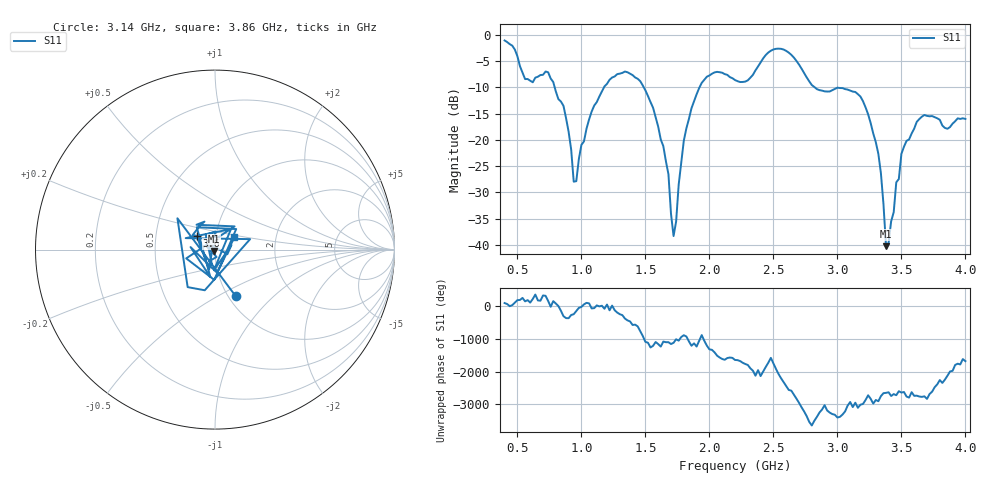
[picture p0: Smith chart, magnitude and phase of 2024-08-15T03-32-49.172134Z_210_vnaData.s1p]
!Created with skrf (http://scikit-rf.org).
# Hz S RI R 50.0
!freq ReS11 ImS11
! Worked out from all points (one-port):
!   181 points, 400 MHz to 4 GHz, reference 50 ohm
!   lowest |S11| = -40.2 dB at 3.38 GHz (marker M1), VSWR 1.02, Z = 49.4 - j0.769 ohm
!   |S11| at or under -10 dB: 791.5 MHz to 1.176 GHz (384.7 MHz wide, 39.1 % of centre); 1.488 GHz to 1.923 GHz (435 MHz wide, 25.5 % of centre); 2.824 GHz to end of sweep
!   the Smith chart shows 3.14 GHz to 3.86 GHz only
!   S11 on the Smith chart (normalised r, x): 3.14 GHz: 1.08, -0.62; 3.6 GHz: 0.81, +0.13; 3.86 GHz: 1.23, +0.17
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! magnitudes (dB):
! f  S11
! 400 MHz  -1.1
! 560 MHz  -8.4
! 740 MHz  -7.1
! 860 MHz  -13.5
! 940 MHz  -28.0
! 960 MHz  -27.9
! 1.08 GHz  -14.6
! 1.3 GHz  -7.4
! 1.56 GHz  -13.9
! 1.68 GHz  -26.5
! 1.72 GHz  -38.3
! 1.76 GHz  -28.5
! 1.82 GHz  -17.8
! 1.94 GHz  -9.1
! 2.2 GHz  -8.6
! 2.5 GHz  -2.8
! 2.66 GHz  -4.3
! 2.84 GHz  -10.3
! 3.1 GHz  -10.6
! 3.14 GHz  -10.9
! 3.32 GHz  -22.7
! 3.38 GHz  -40.2
! 3.5 GHz  -22.7
! 3.56 GHz  -19.9
! 3.6 GHz  -17.9
! 3.68 GHz  -15.3
! 3.86 GHz  -17.9
! 4 GHz  -16.0
